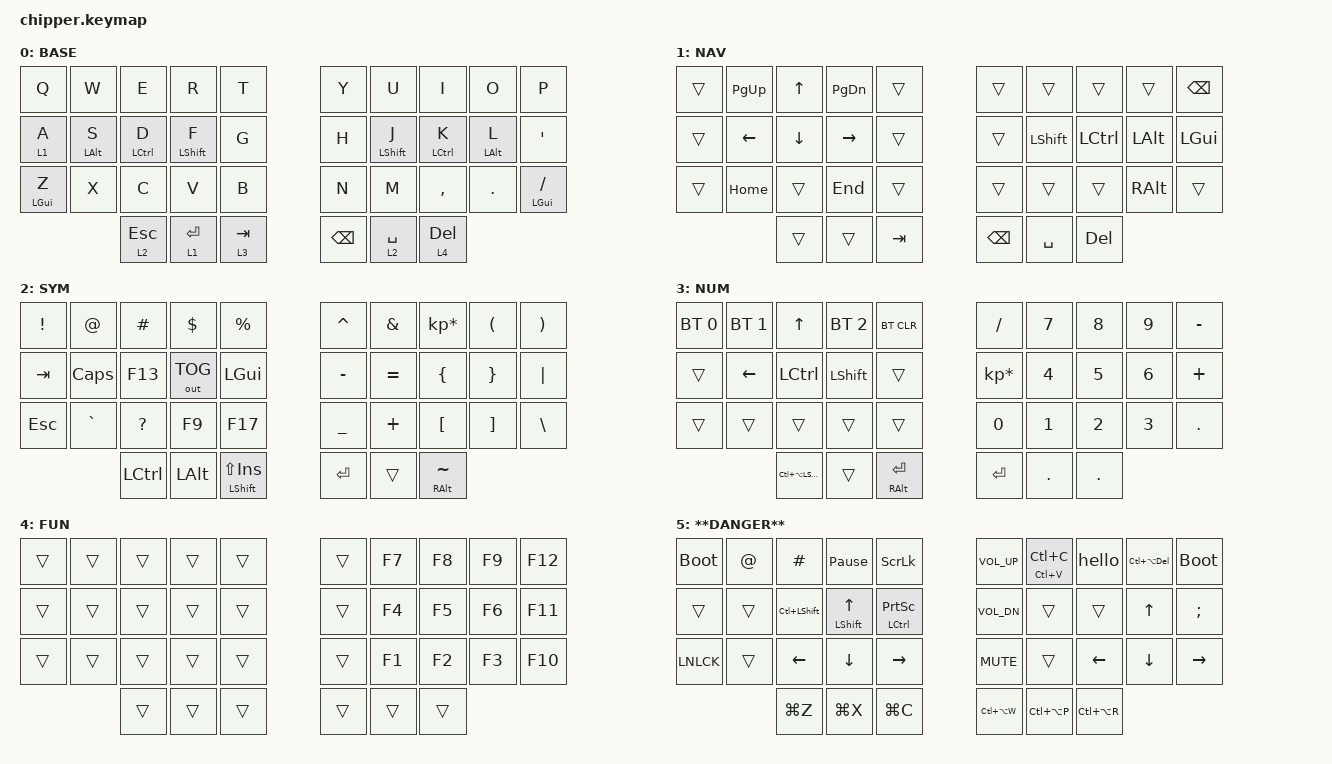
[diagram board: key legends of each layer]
/*
 * Copyright (c) 2020 The ZMK Contributors
 *
 * SPDX-License-Identifier: MIT
 */

#include <behaviors.dtsi>
#include <dt-bindings/zmk/keys.h>
#include <dt-bindings/zmk/bt.h>
#include <dt-bindings/zmk/outputs.h>

#define COMBO_TIMEOUT 60

#define DEFAULT 0
#define NAV     1
#define SYM     2
#define NUM     3
#define FUN		4
#define DANGER  5

/ {
    macros {
		hello: hello {
            label = "hello";
            compatible = "zmk,behavior-macro";
            #binding-cells = <0>;
            bindings
                = <&macro_tap_time 10>
				,<&macro_tap &kp H &kp E &kp L &kp L &kp O>
				;
        };
    };
};


/ {
    combos {
        compatible = "zmk,combos";
 	 combo_del {
            timeout-ms = <COMBO_TIMEOUT>;
            key-positions = <11 12 13>;
            bindings = <&mt RALT DEL>;
        };
	 combo_cw {
            timeout-ms = <COMBO_TIMEOUT>;
            key-positions = <2 3 4>;
            bindings = <&caps_word>;
        };
	 combo_tab {
            timeout-ms = <COMBO_TIMEOUT>;
            key-positions = <10 11 12>;
            bindings = <&mt K_CONTEXT_MENU TAB>;
        };
	 combo_row {
            timeout-ms = <COMBO_TIMEOUT>;
            key-positions = <12 13 14>;
            bindings = <&kp LS(HOME)>;
        };
	 combo_esc {
            timeout-ms = <COMBO_TIMEOUT>;
            key-positions = <0 1 2>;
            bindings = <&kp ESC>;
		};
	 combo_ctlbksp {
            timeout-ms = <COMBO_TIMEOUT>;
            key-positions = <6 7 8>;
            bindings = <&kp LC(BSPC)>;
        };
	 combo_bksp {
            timeout-ms = <COMBO_TIMEOUT>;
            key-positions = <16 17 18>;
            bindings = <&kp BSPC>;
        };
    };
};

&caps_word {
	continue-list = <UNDERSCORE MINUS BACKSPACE DELETE HOME END LEFT RIGHT>;
};

&kscan0 {
	debounce-period = <20>;
};
/ {
	behaviors {
        bh: layer_taps{
			compatible = "zmk,behavior-hold-tap";
			label = "Layer-Tap";
			#binding-cells = <2>;
			tapping_term_ms = <200>;
            flavor = "tap-preferred";
			bindings = <&mo>, <&kp>;
        };
        hm: homerow_mods{
            compatible = "zmk,behavior-hold-tap";
            label = "HOMEROW_MODS";
            #binding-cells = <2>;
            tapping-term-ms = <200>;
            //quick_tap_ms = <0>;
            flavor = "tap-preferred";
            bindings = <&kp>, <&kp>;
        };
		sm: shift_mods{
            compatible = "zmk,behavior-hold-tap";
            label = "SHIFT_MODS";
            #binding-cells = <2>;
            tapping-term-ms = <80>;
            //quick_tap_ms = <0>;
            flavor = "hold-preferred";
            bindings = <&kp>, <&kp>;
        };
    };
};
/ {
        keymap {
                compatible = "zmk,keymap";
//													Base 0
                default_layer {
                        bindings = <
	&kp Q       &kp W        &kp E        &kp R        &kp T        &kp Y     &kp U          &kp I         &kp O        &kp P
	&bh 1 A     &hm LALT S   &hm LCTRL D  &hm LSHFT F  &kp G        &kp H     &hm LSHFT J    &hm LCTRL K   &hm LALT L   &kp SQT
	&mt LGUI Z  &kp X        &kp C        &kp V        &kp B        &kp N     &kp M          &kp COMMA     &kp DOT      &hm LGUI FSLH
//	&kp Q       &kp W        &kp F        &kp P        &kp G        &kp J     &kp L          &kp U         &kp Y        &kp SQT
//	&bh 1 A     &hm LALT R   &hm LCTRL S  &hm LSHFT T  &kp D        &kp H     &hm LSHFT N    &hm LCTRL E   &hm LALT I   &kp O
//	&mt LGUI Z  &kp X        &kp C        &kp V        &kp B        &kp K     &kp M          &kp COMMA     &kp DOT      &hm LGUI FSLH
				&bh 2 ESC &bh 1 RET &bh 3 TAB            &kp BSPC &bh 2 SPACE &bh 4 DEL
                        >;
				label = "BASE";
            };
// 													NAV 1
                nav_layer {
                        bindings = <
	&trans 		&kp PG_UP 	&kp UP			&kp PG_DN	&trans     		&trans       &trans     &trans          &trans    &kp BSPC
	&trans      &kp LEFT    &kp DOWN   	  	&kp RIGHT  	&trans			&trans       &kp LSHFT  &kp LCTRL       &kp LALT  &kp LGUI
	&trans      &kp HOME    &trans      	&kp END    	&trans			&trans       &trans     &trans          &kp RALT  &trans
               	&trans  &trans  	&kp TAB                   &kp BSPC  &kp SPACE  &kp DEL
                        >;
				label = "NAV";
            };
//													SYM 2
                symbol_layer {
                        bindings = <
	&kp EXCL  &kp AT    &kp HASH    &kp DLLR     &kp PRCNT     &kp CARET &kp AMPS  &kp KP_MULTIPLY &kp LPAR &kp RPAR 
	&kp TAB   &kp CAPS  &kp F13     &out OUT_TOG &kp LGUI      &kp MINUS &kp EQUAL &kp LBRC &kp RBRC &kp PIPE 
	&kp ESC   &kp GRAVE &kp QMARK   &kp F9       &kp F17       &kp UNDER &kp PLUS  &kp LBKT &kp RBKT &kp BSLH 
             &kp LCTRL &kp LALT    &mt LSHFT LS(INS)          &kp RET   &trans    &mt RALT TILDE
                        >;
				label = "SYM";
			};
//													NUM 3
				num_layer {
                        bindings = <
	&bt BT_SEL 0 &bt BT_SEL 1 &kp UP      &bt BT_SEL 2 &bt BT_CLR        	&kp SLASH		&kp N7 &kp N8 &kp N9  &kp MINUS
	&trans       &kp LEFT     &kp LCTRL   &kp LSHFT    &trans         		&kp KP_MULTIPLY	&kp N4 &kp N5 &kp N6  &kp PLUS
	&trans       &trans       &trans      &trans       &trans        	 	&kp N0  		&kp N1 &kp N2 &kp N3  &kp DOT
                &kp LC(LA(LSHFT)) &trans  &mt RALT RET                     		&kp RET  &kp DOT  &kp DOT
                        >;
				label = "NUM";
            };
//													FUN 4
				function_layer {
                        bindings = <
	&trans &trans &trans &trans &trans					&trans &kp F7 &kp F8 &kp F9 &kp F12
	&trans &trans &trans &trans &trans					&trans &kp F4 &kp F5 &kp F6 &kp F11
	&trans &trans &trans &trans &trans					&trans &kp F1 &kp F2 &kp F3 &kp F10
				&trans &trans &trans           &trans &trans &trans
					>;
				label = "FUN";
			};
//													DANGER 5
				danger_layer {
                        bindings = <
	&bootloader  &kp AT &kp HASH       &kp PAUSE_BREAK &kp SLCK              &kp C_VOL_UP       &hm LC(V) LC(C)      &hello &kp LC(LA(DEL)) &bootloader 
	&trans       &trans &kp LC(LSHFT)  &mt LSHFT UP    &mt LCTRL PSCRN       &kp C_VOL_DN       &trans &trans        &kp UP &kp SEMI 
	&kp LNLCK    &trans &kp LEFT       &kp DOWN        &kp RIGHT             &kp C_MUTE &trans  &kp LEFT             &kp DOWN &kp RIGHT 
              &kp LG(Z)       &kp LG(X)       &kp LG(C)                            &kp LC(LA(W))      &kp LC(LA(P))        &kp LC(LA(R))
                        >;
                label = "**DANGER**";
            };
		};
		
//
// -----------------------------------------------------------------------------------------
// |  Q  |  W  |  E  |  R  |  T          |   |  Y  |  U        |  I      |  O  |  P  | 
// |  A  |  S  |  D  |  F  |  G          |   |  H  |  J        |  K      |  L  |  ;  |
// |  Z  |  X  |  C  |  V  |  B          |   |  N  |  M        |  ,      |  .  |  /  | 
//             | GUI | LWR |  BSPC/LSHFT |   | SPC | RSE/BSPC  | ENT/ALT |
};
